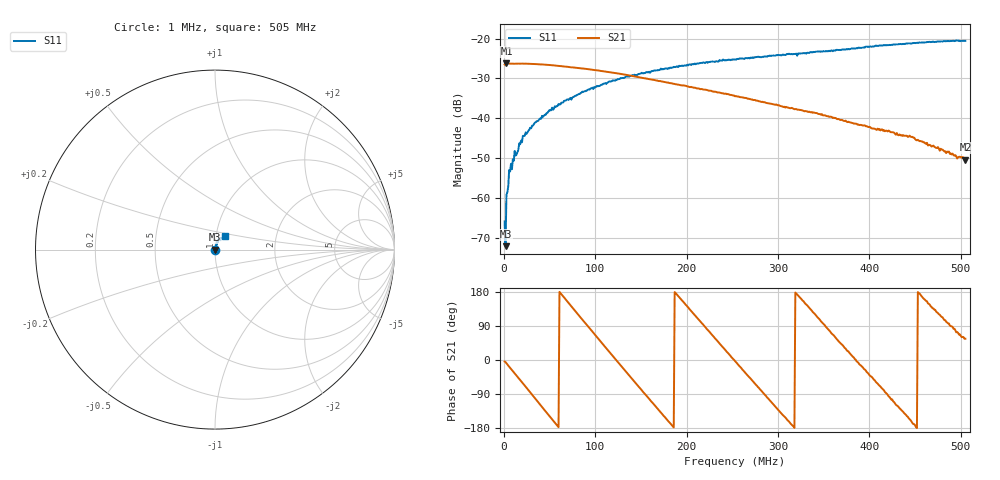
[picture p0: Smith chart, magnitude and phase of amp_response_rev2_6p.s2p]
# HZ S RI R 50
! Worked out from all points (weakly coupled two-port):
!   505 points, 1 MHz to 505 MHz, reference 50 ohm
!   highest |S21| = -26.21 dB at 3 MHz (marker M1); lowest = -50.3 dB at 505 MHz (marker M2)
!   lowest |S11| = -72.0 dB at 2 MHz (marker M3), VSWR 1.00, Z = 50 - j0.00428 ohm
!   |S11| at or under -10 dB: start of sweep to end of sweep
!   S12 and S22 are empty: the file has one direction only
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1000000  -0.00046 0.000225  0.0472 -0.00342  0 0  0 0
2000000  -0.000247 -4.28e-05  0.0486 -0.00471  0 0  0 0
3000000  -0.00017 0.00109  0.0483 -0.00738  0 0  0 0
4000000  4.39e-05 0.00118  0.0479 -0.00996  0 0  0 0
5000000  7.2e-05 0.00141  0.0471 -0.0124  0 0  0 0
8000000  0.000324 0.00268  0.0445 -0.0193  0 0  0 0
1.9e7  0.000523 0.00524  0.0275 -0.0401  0 0  0 0
2.3e7  0.000421 0.00603  0.0186 -0.0448  0 0  0 0
3.4e7  0.00147 0.00868  -0.00856 -0.0472  0 0  0 0
5.1e7  0.00313 0.0122  -0.0406 -0.0227  0 0  0 0
8.5e7  0.00586 0.0202  -0.0141 0.0399  0 0  0 0
1.22e8  0.00863 0.0286  0.037 0.00181  0 0  0 0
1.47e8  0.00917 0.0346  0.0121 -0.0307  0 0  0 0
1.69e8  0.011 0.0387  -0.019 -0.0225  0 0  0 0
2.12e8  0.0149 0.0462  -0.00804 0.0224  0 0  0 0
2.53e8  0.0176 0.0517  0.0189 -0.000937  0 0  0 0
2.85e8  0.0222 0.0553  3.17e-05 -0.016  0 0  0 0
3.37e8  0.0308 0.0599  -0.00776 0.00917  0 0  0 0
4.21e8  0.0471 0.068  -0.000715 -0.00701  0 0  0 0
4.46e8  0.0507 0.0705  -0.00557 -0.0018  0 0  0 0
4.95e8  0.0578 0.075  0.000978 0.00321  0 0  0 0
5.05e8  0.0578 0.0737  0.0017 0.00253  0 0  0 0
